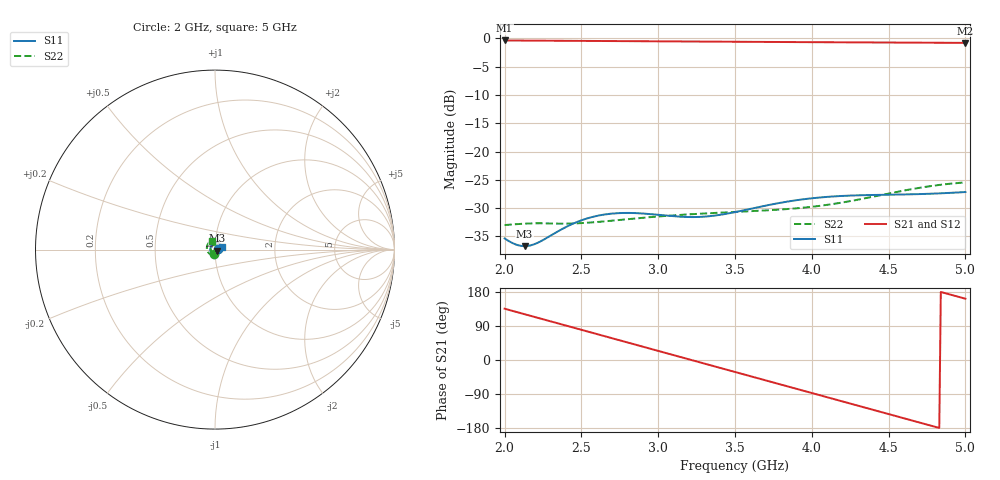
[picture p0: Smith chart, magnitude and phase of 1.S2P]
#  MHZ S MA R 50.0
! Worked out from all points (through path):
!   301 points, 2 GHz to 5 GHz, reference 50 ohm
!   highest |S21| = -0.36 dB at 2 GHz (marker M1); lowest = -0.8 dB at 5 GHz (marker M2)
!   group delay of S21, straight-line fit = 309 ps
!   lowest |S11| = -36.7 dB at 2.13 GHz (marker M3), VSWR 1.03, Z = 51.3 - j0.652 ohm
!   |S11| at or under -10 dB: start of sweep to end of sweep
!   |S22| runs from -33.0 to -25.5 dB; largest |S21 - S12| = 0
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2000  0.01705 12.6  0.9597 135.3  0.9597 135.3  0.02241 -99.1
2130  0.01459 -25.8  0.9574 120.9  0.9574 120.9  0.02306 -117.6
2320  0.01877 -75.6  0.9541 99.7  0.9541 99.7  0.02308 -145.3
2500  0.02469 -101.9  0.951 79.6  0.951 79.6  0.02333 -170.5
2730  0.02852 -126.0  0.9472 54.0  0.9472 54.0  0.02473 153.4
2870  0.02852 -140.6  0.9448 38.4  0.9448 38.4  0.02577 128.6
3000  0.0276 -155.8  0.9427 24.0  0.9427 24.0  0.02669 103.7
3130  0.02663 -173.0  0.9406 9.5  0.9406 9.5  0.02749 77.7
3250  0.0264 169.6  0.9386 -3.8  0.9386 -3.8  0.02813 53.1
3370  0.02719 152.1  0.9367 -17.1  0.9367 -17.1  0.0287 28.3
3500  0.02915 134.7  0.9346 -31.6  0.9346 -31.6  0.02927 1.8
3760  0.03456 107.0  0.9304 -60.5  0.9304 -60.5  0.03053 -48.1
3880  0.03684 96.9  0.9285 -73.8  0.9285 -73.8  0.03135 -69.3
4000  0.03866 87.7  0.9267 -87.1  0.9267 -87.1  0.0325 -89.3
4120  0.03997 79.1  0.9249 -100.4  0.9249 -100.4  0.03412 -108.5
4240  0.04079 70.7  0.9231 -113.8  0.9231 -113.8  0.03628 -127.2
4370  0.04129 61.7  0.9213 -128.2  0.9213 -128.2  0.03922 -147.4
4500  0.04157 52.6  0.9195 -142.7  0.9195 -142.7  0.04258 -168.0
4630  0.04187 43.4  0.9179 -157.1  0.9179 -157.1  0.04604 170.9
4750  0.04229 35.0  0.9164 -170.5  0.9164 -170.5  0.049 151.1
4870  0.04294 26.6  0.9151 176.2  0.9151 176.2  0.05148 131.0
5000  0.0439 17.9  0.9137 161.7  0.9137 161.7  0.05338 109.2
